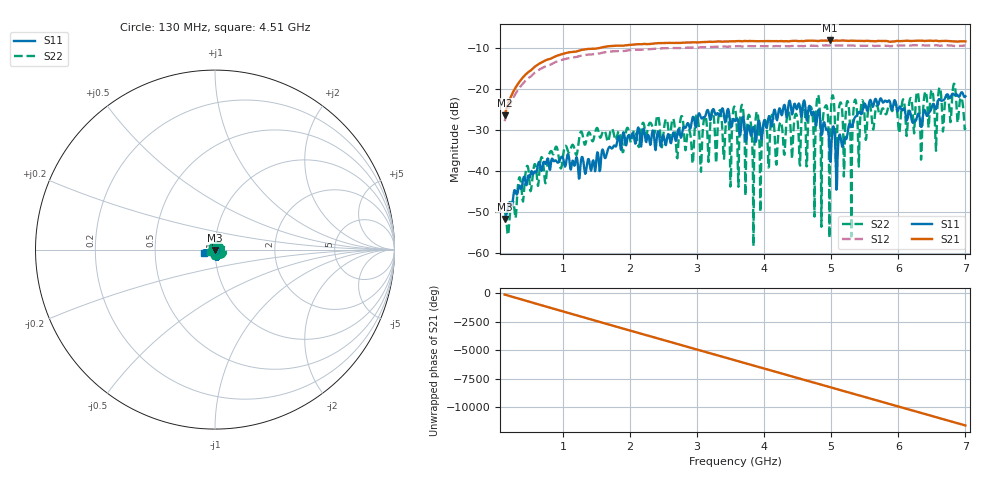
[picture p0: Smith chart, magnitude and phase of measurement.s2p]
# Hz S RI R 50.000000
! Metas.Vna.Tools, 2.8.8664.20301
! Metas.Vna.Data, 2.8.8664.20285
! Created: UTC 2024.02.09 20:40:09
! FREQ  re:S1,1  im:S1,1  re:S2,1  im:S2,1  re:S1,2  im:S1,2  re:S2,2  im:S2,2
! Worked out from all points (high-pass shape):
!   801 points, 130 MHz to 7 GHz, reference 50 ohm
!   highest |S21| = -8.14 dB at 4.982 GHz (marker M1); lowest = -26.4 dB at 130 MHz (marker M2)
!   |S21| within 3 dB of the highest: 1.062 GHz to end of sweep
!   lowest |S11| = -51.7 dB at 130 MHz (marker M3), VSWR 1.01, Z = 49.9 - j0.22 ohm
!   |S11| at or under -10 dB: start of sweep to end of sweep
!   |S22| runs from -58.3 to -18.7 dB; largest |S21 - S12| = 0.1
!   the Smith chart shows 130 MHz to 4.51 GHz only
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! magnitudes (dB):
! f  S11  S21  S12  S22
! 130 MHz  -51.7  -26.4  -27.8  -50.1
! 628.1 MHz  -38.4  -14.0  -15.4  -43.6
! 1.281 GHz  -36.6  -10.4  -11.8  -30.5
! 2.423 GHz  -30.4  -8.8  -10.1  -26.7
! 2.921 GHz  -27.9  -8.6  -9.9  -35.1
! 3.565 GHz  -27.8  -8.3  -9.6  -24.6
! 3.78 GHz  -29.4  -8.3  -9.5  -26.4
! 3.831 GHz  -29.4  -8.3  -9.5  -38.9
! 3.891 GHz  -31.0  -8.3  -9.6  -25.5
! 3.951 GHz  -31.3  -8.3  -9.5  -41.3
! 4.716 GHz  -26.3  -8.2  -9.4  -25.5
! 4.802 GHz  -25.5  -8.3  -9.5  -21.4
! 4.982 GHz  -36.7  -8.1  -9.3  -32.8
! 5.025 GHz  -29.3  -8.2  -9.4  -21.5
! 5.085 GHz  -43.5  -8.2  -9.4  -31.9
! 5.248 GHz  -30.2  -8.3  -9.4  -23.0
! 5.3 GHz  -29.1  -8.2  -9.4  -55.9
! 5.351 GHz  -26.9  -8.2  -9.4  -22.7
! 5.858 GHz  -22.8  -8.4  -9.5  -24.0
! 6.347 GHz  -29.2  -8.2  -9.3  -35.1
! 6.828 GHz  -21.3  -8.4  -9.5  -18.7
! 7 GHz  -21.8  -8.4  -9.4  -29.4
